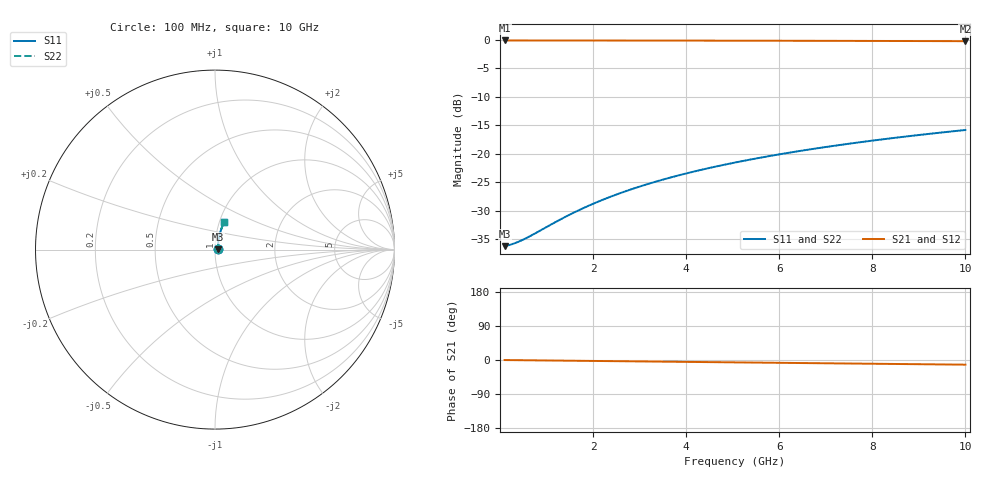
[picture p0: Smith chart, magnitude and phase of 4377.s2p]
# Hz S RI R 50.00
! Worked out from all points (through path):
!   100 points, 100 MHz to 10 GHz, reference 50 ohm
!   highest |S21| = -0.13 dB at 100 MHz (marker M1); lowest = -0.3 dB at 10 GHz (marker M2)
!   group delay of S21, straight-line fit = 3.42 ps
!   lowest |S11| = -36.2 dB at 100 MHz (marker M3), VSWR 1.03, Z = 51.6 + j0.165 ohm
!   |S11| at or under -10 dB: start of sweep to end of sweep
!   |S22| runs from -36.2 to -15.8 dB; largest |S21 - S12| = 0
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1e8  0.0154 0.0016  0.9846 -0.00213  0.9846 -0.00213  0.0154 0.0016
2e8  0.0155 0.0032  0.9845 -0.00427  0.9845 -0.00427  0.0155 0.0032
3e8  0.0156 0.00479  0.9844 -0.0064  0.9844 -0.0064  0.0156 0.00479
5e8  0.0157 0.00799  0.9843 -0.0107  0.9843 -0.0107  0.0157 0.00799
7e8  0.0159 0.0112  0.9841 -0.0149  0.9841 -0.0149  0.0159 0.0112
1.3e9  0.0165 0.0207  0.9835 -0.0277  0.9835 -0.0277  0.0165 0.0207
1.6e9  0.0169 0.0255  0.9831 -0.0341  0.9831 -0.0341  0.0169 0.0255
1.8e9  0.0171 0.0287  0.9828 -0.0383  0.9828 -0.0383  0.0171 0.0287
2.2e9  0.0178 0.035  0.9822 -0.0468  0.9822 -0.0468  0.0178 0.035
2.6e9  0.0185 0.0414  0.9814 -0.0553  0.9814 -0.0553  0.0185 0.0414
3e9  0.0193 0.0477  0.9805 -0.0638  0.9805 -0.0638  0.0193 0.0477
3.4e9  0.0203 0.054  0.9796 -0.0722  0.9796 -0.0722  0.0203 0.054
3.8e9  0.0213 0.0603  0.9785 -0.0806  0.9785 -0.0806  0.0213 0.0603
4.2e9  0.0224 0.0665  0.9773 -0.089  0.9773 -0.089  0.0224 0.0665
4.6e9  0.0237 0.0728  0.976 -0.0974  0.976 -0.0974  0.0237 0.0728
5.1e9  0.0254 0.0805  0.9742 -0.1079  0.9742 -0.1079  0.0254 0.0805
5.9e9  0.0285 0.0928  0.971 -0.1245  0.971 -0.1245  0.0285 0.0928
6.7e9  0.0319 0.1049  0.9674 -0.1409  0.9674 -0.1409  0.0319 0.1049
7.5e9  0.0358 0.1169  0.9633 -0.1572  0.9633 -0.1572  0.0358 0.1169
8.4e9  0.0407 0.1302  0.9583 -0.1754  0.9583 -0.1754  0.0407 0.1302
9.2e9  0.0454 0.1418  0.9533 -0.1913  0.9533 -0.1913  0.0454 0.1418
1e10  0.0505 0.1533  0.948 -0.207  0.948 -0.207  0.0505 0.1533
